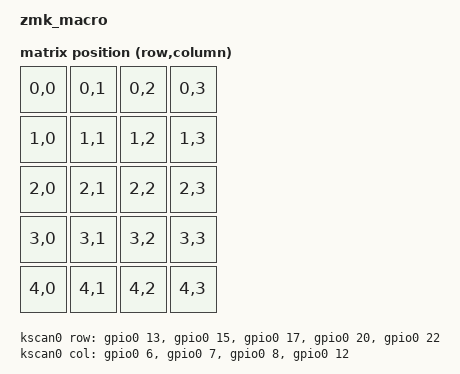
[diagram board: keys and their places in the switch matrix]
/*
 * Copyright (c) 2021 Nick Winans
 *
 * SPDX-License-Identifier: MIT
 */

/dts-v1/;
#include <nordic/nrf52840_qiaa.dtsi>

#include <dt-bindings/led/led.h>
#include <dt-bindings/zmk/matrix_transform.h>

#include "zmk-macro-pinctrl.dtsi"


/ {
    model = "zmk_macro";
    compatible = "zmk_macro";

    chosen {
        zephyr,code-partition = &code_partition;
        zephyr,sram = &sram0;
        zephyr,flash = &flash0;
        zmk,battery = &vbatt;
        zmk,kscan = &kscan0;
      zmk,matrix-transform = &default_transform;
        zmk,underglow = &led_strip;
    };

    default_transform: keymap_transform_0 {
        compatible = "zmk,matrix-transform";
        columns = <4>;
        rows = <5>;
        map = <
                RC(0,0) RC(0,1) RC(0,2) RC(0,3) 
                RC(1,0) RC(1,1) RC(1,2) RC(1,3) 
                RC(2,0) RC(2,1) RC(2,2) RC(2,3) 
                RC(3,0) RC(3,1) RC(3,2) RC(3,3) 
                RC(4,0) RC(4,1) RC(4,2) RC(4,3) 
        >;
    };

    soft_off_wakers {
      compatible = "zmk,soft-off-wakeup-sources";
      wakeup-sources = <&kscan0>;
    };

    kscan0: kscan {
        compatible = "zmk,kscan-gpio-matrix";
        wakeup-source;

        diode-direction = "col2row";
        row-gpios
            = <&gpio0 13 (GPIO_ACTIVE_HIGH | GPIO_PULL_DOWN)>
            , <&gpio0 15 (GPIO_ACTIVE_HIGH | GPIO_PULL_DOWN)>
            , <&gpio0 17 (GPIO_ACTIVE_HIGH | GPIO_PULL_DOWN)>
            , <&gpio0 20 (GPIO_ACTIVE_HIGH | GPIO_PULL_DOWN)>
            , <&gpio0 22 (GPIO_ACTIVE_HIGH | GPIO_PULL_DOWN)>
            ;
        col-gpios
            = <&gpio0 6  GPIO_ACTIVE_HIGH>
            , <&gpio0 7  GPIO_ACTIVE_HIGH>
            , <&gpio0 8  GPIO_ACTIVE_HIGH>
            , <&gpio0 12 GPIO_ACTIVE_HIGH>
            ;
    };

    leds {
        compatible = "gpio-leds";
        blue_led: led_0 {
            gpios = <&gpio0 4 GPIO_ACTIVE_HIGH>;
        };
    };

    // Node name must match original "EXT_POWER" label to preserve user settings.
    EXT_POWER {
        compatible = "zmk,ext-power-generic";
        control-gpios = <&gpio0 30 GPIO_ACTIVE_HIGH>;
    };

    vbatt: vbatt {
      compatible = "zmk,battery-nrf-vddh";
  };    
};

&adc {
    status = "okay";
};

&gpiote {
    status = "okay";
};

&gpio0 {
    status = "okay";
};

&gpio1 {
    status = "okay";
};

&spi3 {
    compatible = "nordic,nrf-spim";

    pinctrl-0 = <&spi3_default>;
    pinctrl-1 = <&spi3_sleep>;
    pinctrl-names = "default", "sleep";
    status = "okay";

    led_strip: ws2812@0 {
        compatible = "worldsemi,ws2812-spi";

        /* SPI */
        reg = <0>; /* ignored, but necessary for SPI bindings */
        spi-max-frequency = <4000000>;

        /* WS2812 */
        chain-length = <20>; /* LED strip length */
        spi-one-frame = <0x70>;
        spi-zero-frame = <0x40>;
        color-mapping = <LED_COLOR_ID_GREEN LED_COLOR_ID_RED LED_COLOR_ID_BLUE>;
    };
};

zephyr_udc0: &usbd {
    status = "okay";
};

&flash0 {
    /*
    * For more information, see:
    * http://docs.zephyrproject.org/latest/devices/dts/flash_partitions.html
    */
    partitions {
        compatible = "fixed-partitions";
        #address-cells = <1>;
        #size-cells = <1>;

        sd_partition: partition@0 {
            reg = <0x00000000 0x00001000>;
        };

        code_partition: partition@1000 {
            reg = <0x00001000 0x000d3000>;
        };

        /*
        * The flash starting at 0x000d4000 and ending at
        * 0x000f3fff is reserved for use by the application.
        */

        /*
        * Storage partition will be used by FCB/LittleFS/NVS
        * if enabled.
        */
        storage_partition: partition@d4000 {
            reg = <0x000d4000 0x00020000>;
        };

        boot_partition: partition@f4000 {
            reg = <0x000f4000 0x0000c000>;
        };
    };
};
 
